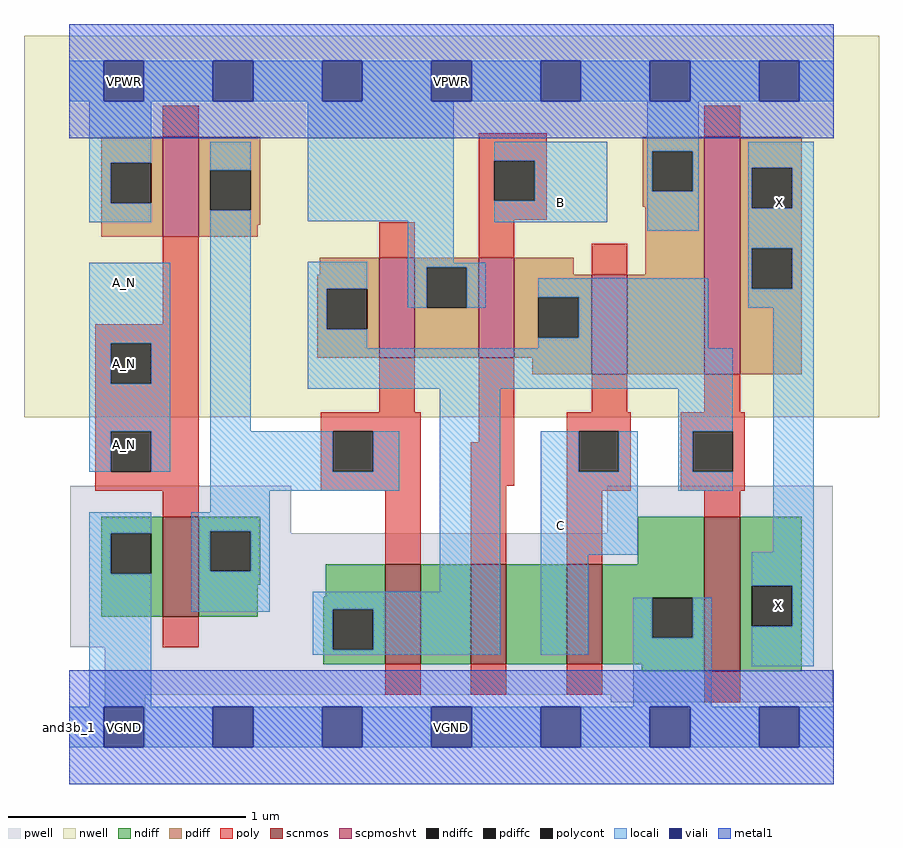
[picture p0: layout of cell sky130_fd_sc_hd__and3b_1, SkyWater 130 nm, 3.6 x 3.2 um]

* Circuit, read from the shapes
.subckt sky130_fd_sc_hd__and3b_1 A_N B C VGND VNB VPB VPWR X
XM1 n1 A_N VGND VNB sky130_fd_pr__nfet_01v8 w=0.42 l=0.15
XM2 n2 n1 n3 VNB sky130_fd_pr__nfet_01v8 w=0.42 l=0.15
XM3 n4 B n2 VNB sky130_fd_pr__nfet_01v8 w=0.42 l=0.15
XM4 VGND C n4 VNB sky130_fd_pr__nfet_01v8 w=0.42 l=0.15
XM5 X n3 VGND VNB sky130_fd_pr__nfet_01v8 w=0.65 l=0.15
XM6 n1 A_N VPWR VPB sky130_fd_pr__pfet_01v8_hvt w=0.42 l=0.15
XM7 VPWR n1 n3 VPB sky130_fd_pr__pfet_01v8_hvt w=0.42 l=0.15
XM8 n3 B VPWR VPB sky130_fd_pr__pfet_01v8_hvt w=0.42 l=0.15
XM9 VPWR C n3 VPB sky130_fd_pr__pfet_01v8_hvt w=0.42 l=0.15
XM10 X n3 VPWR VPB sky130_fd_pr__pfet_01v8_hvt w=1 l=0.15
.ends

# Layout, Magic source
magic
tech sky130B
magscale 1 2
<< nwell >>
rect -38 261 682 582
<< pwell >>
rect 1 163 187 203
rect 453 163 643 203
rect 1 67 643 163
rect 30 27 643 67
rect 30 -17 64 27
rect 456 21 643 27
<< scnmos >>
rect 79 93 109 177
rect 266 53 296 137
rect 338 53 368 137
rect 419 53 449 137
rect 535 47 565 177
<< scpmoshvt >>
rect 79 413 109 497
rect 261 311 291 395
rect 345 311 375 395
rect 440 297 470 381
rect 535 297 565 497
<< ndiff >>
rect 27 163 79 177
rect 27 129 35 163
rect 69 129 79 163
rect 27 93 79 129
rect 109 165 161 177
rect 109 131 119 165
rect 153 131 161 165
rect 479 137 535 177
rect 109 120 161 131
rect 109 93 159 120
rect 216 110 266 137
rect 215 109 266 110
rect 214 99 266 109
rect 214 65 222 99
rect 256 65 266 99
rect 214 53 266 65
rect 296 53 338 137
rect 368 53 419 137
rect 449 109 535 137
rect 449 75 491 109
rect 525 75 535 109
rect 449 53 535 75
rect 482 47 535 53
rect 565 119 617 177
rect 565 85 575 119
rect 609 85 617 119
rect 565 47 617 85
<< pdiff >>
rect 27 475 79 497
rect 27 441 35 475
rect 69 441 79 475
rect 27 413 79 441
rect 109 469 161 497
rect 109 435 119 469
rect 153 435 161 469
rect 109 423 161 435
rect 483 485 535 497
rect 483 451 491 485
rect 525 451 535 485
rect 483 438 535 451
rect 109 413 159 423
rect 211 381 261 395
rect 209 369 261 381
rect 209 335 217 369
rect 251 335 261 369
rect 209 311 261 335
rect 291 387 345 395
rect 291 353 301 387
rect 335 353 345 387
rect 291 311 345 353
rect 375 381 425 395
rect 485 381 535 438
rect 375 362 440 381
rect 375 328 395 362
rect 429 328 440 362
rect 375 311 440 328
rect 390 297 440 311
rect 470 297 535 381
rect 565 471 617 497
rect 565 437 575 471
rect 609 437 617 471
rect 565 403 617 437
rect 565 369 575 403
rect 609 369 617 403
rect 565 297 617 369
<< ndiffc >>
rect 35 129 69 163
rect 119 131 153 165
rect 222 65 256 99
rect 491 75 525 109
rect 575 85 609 119
<< pdiffc >>
rect 35 441 69 475
rect 119 435 153 469
rect 491 451 525 485
rect 217 335 251 369
rect 301 353 335 387
rect 395 328 429 362
rect 575 437 609 471
rect 575 369 609 403
<< poly >>
rect 79 497 109 523
rect 345 477 402 500
rect 535 497 565 523
rect 345 443 358 477
rect 392 443 402 477
rect 345 427 402 443
rect 79 339 109 413
rect 261 395 291 425
rect 345 395 375 427
rect 22 323 109 339
rect 22 289 35 323
rect 69 289 109 323
rect 440 381 470 407
rect 22 249 109 289
rect 261 265 291 311
rect 22 215 35 249
rect 69 215 109 249
rect 22 199 109 215
rect 212 249 296 265
rect 212 215 222 249
rect 256 215 296 249
rect 345 240 375 311
rect 440 265 470 297
rect 535 265 565 297
rect 212 199 296 215
rect 79 177 109 199
rect 266 137 296 199
rect 338 203 375 240
rect 419 249 473 265
rect 419 215 429 249
rect 463 215 473 249
rect 338 137 368 203
rect 419 199 473 215
rect 515 249 569 265
rect 515 215 525 249
rect 559 215 569 249
rect 515 199 569 215
rect 419 137 449 199
rect 535 177 565 199
rect 79 67 109 93
rect 266 27 296 53
rect 338 27 368 53
rect 419 27 449 53
rect 535 21 565 47
<< polycont >>
rect 358 443 392 477
rect 35 289 69 323
rect 35 215 69 249
rect 222 215 256 249
rect 429 215 463 249
rect 525 215 559 249
<< locali >>
rect 0 527 29 561
rect 63 527 121 561
rect 155 527 213 561
rect 247 527 305 561
rect 339 527 397 561
rect 431 527 489 561
rect 523 527 581 561
rect 615 527 644 561
rect 17 475 69 527
rect 17 441 35 475
rect 17 425 69 441
rect 119 469 153 493
rect 17 323 85 391
rect 17 289 35 323
rect 69 289 85 323
rect 17 249 85 289
rect 17 215 35 249
rect 69 215 85 249
rect 119 249 153 435
rect 201 426 324 527
rect 201 369 251 392
rect 201 335 217 369
rect 285 391 324 426
rect 358 477 453 493
rect 392 443 453 477
rect 358 425 453 443
rect 487 485 530 527
rect 487 451 491 485
rect 525 451 530 485
rect 487 418 530 451
rect 572 471 627 493
rect 572 437 575 471
rect 609 437 627 471
rect 572 403 627 437
rect 285 387 351 391
rect 285 353 301 387
rect 335 353 351 387
rect 395 362 538 378
rect 201 319 251 335
rect 429 328 538 362
rect 572 369 575 403
rect 609 369 627 403
rect 572 353 627 369
rect 395 319 538 328
rect 201 285 559 319
rect 119 215 222 249
rect 256 215 278 249
rect 119 199 278 215
rect 119 181 169 199
rect 17 163 69 181
rect 17 129 35 163
rect 17 17 69 129
rect 103 165 169 181
rect 103 131 119 165
rect 153 131 169 165
rect 103 97 169 131
rect 312 114 363 285
rect 513 249 559 285
rect 205 99 363 114
rect 205 65 222 99
rect 256 65 363 99
rect 205 61 363 65
rect 397 215 429 249
rect 463 215 479 249
rect 397 145 479 215
rect 513 215 525 249
rect 513 199 559 215
rect 593 147 627 353
rect 397 61 437 145
rect 575 119 627 147
rect 475 75 491 109
rect 525 75 541 109
rect 475 17 541 75
rect 609 85 627 119
rect 575 51 627 85
rect 0 -17 29 17
rect 63 -17 121 17
rect 155 -17 213 17
rect 247 -17 305 17
rect 339 -17 397 17
rect 431 -17 489 17
rect 523 -17 581 17
rect 615 -17 644 17
<< viali >>
rect 29 527 63 561
rect 121 527 155 561
rect 213 527 247 561
rect 305 527 339 561
rect 397 527 431 561
rect 489 527 523 561
rect 581 527 615 561
rect 29 -17 63 17
rect 121 -17 155 17
rect 213 -17 247 17
rect 305 -17 339 17
rect 397 -17 431 17
rect 489 -17 523 17
rect 581 -17 615 17
<< metal1 >>
rect 0 561 644 592
rect 0 527 29 561
rect 63 527 121 561
rect 155 527 213 561
rect 247 527 305 561
rect 339 527 397 561
rect 431 527 489 561
rect 523 527 581 561
rect 615 527 644 561
rect 0 496 644 527
rect 0 17 644 48
rect 0 -17 29 17
rect 63 -17 121 17
rect 155 -17 213 17
rect 247 -17 305 17
rect 339 -17 397 17
rect 431 -17 489 17
rect 523 -17 581 17
rect 615 -17 644 17
rect 0 -48 644 -17
<< labels >>
flabel locali s 30 289 64 323 0 FreeSans 400 0 0 0 A_N
port 1 nsew signal input
flabel locali s 397 425 431 459 0 FreeSans 400 0 0 0 B
port 2 nsew signal input
flabel locali s 581 425 615 459 0 FreeSans 200 0 0 0 X
port 8 nsew signal output
flabel locali s 397 153 431 187 0 FreeSans 400 0 0 0 C
port 3 nsew signal input
flabel locali s 30 221 64 255 0 FreeSans 400 0 0 0 A_N
port 1 nsew signal input
flabel locali s 580 85 614 119 0 FreeSans 200 0 0 0 X
port 8 nsew signal output
flabel locali s 30 357 64 391 0 FreeSans 400 0 0 0 A_N
port 1 nsew signal input
flabel metal1 s 30 -17 64 17 0 FreeSans 200 0 0 0 VGND
port 4 nsew ground bidirectional abutment
flabel metal1 s 30 527 64 561 0 FreeSans 200 0 0 0 VPWR
port 7 nsew power bidirectional abutment
flabel nwell s 30 527 64 561 0 FreeSans 200 0 0 0 VPB
port 6 nsew power bidirectional
flabel pwell s 30 -17 64 17 0 FreeSans 200 0 0 0 VNB
port 5 nsew ground bidirectional
rlabel comment s 0 0 0 0 4 and3b_1
rlabel metal1 s 0 -48 644 48 1 VGND
port 4 nsew ground bidirectional abutment
rlabel metal1 s 0 496 644 592 1 VPWR
port 7 nsew power bidirectional abutment
<< properties >>
string FIXED_BBOX 0 0 644 544
string GDS_END 3871886
string GDS_FILE $PDKPATH/libs.ref/sky130_fd_sc_hd/gds/sky130_fd_sc_hd.gds
string GDS_START 3865544
string LEFclass CORE
string LEFsite unithd
string LEFsymmetry X Y R90
string path 0.000 0.000 16.100 0.000 
<< end >>
